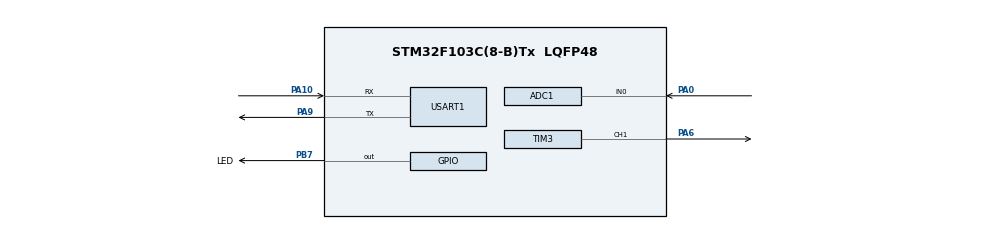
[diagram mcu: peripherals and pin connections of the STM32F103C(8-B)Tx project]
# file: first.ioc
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ADC1.Channel-0\#ChannelRegularConversion=ADC_CHANNEL_0
ADC1.ContinuousConvMode=DISABLE
ADC1.DataAlign=ADC_DATAALIGN_RIGHT
ADC1.DiscontinuousConvMode=DISABLE
ADC1.EnableAnalogWatchDog=false
ADC1.EnableRegularConversion=ENABLE
ADC1.ExternalTrigConv=ADC_SOFTWARE_START
ADC1.InjNumberOfConversion=0
ADC1.NbrOfConversion=1
ADC1.NbrOfConversionFlag=1
ADC1.Rank-0\#ChannelRegularConversion=1
ADC1.SamplingTime-0\#ChannelRegularConversion=ADC_SAMPLETIME_28CYCLES_5
ADC1.ScanConvMode=ADC_SCAN_DISABLE
ADC1.master=1
Dma.ADC1.0.Direction=DMA_PERIPH_TO_MEMORY
Dma.ADC1.0.Instance=DMA1_Channel1
Dma.ADC1.0.MemDataAlignment=DMA_MDATAALIGN_HALFWORD
Dma.ADC1.0.MemInc=DMA_MINC_DISABLE
Dma.ADC1.0.Mode=DMA_CIRCULAR
Dma.ADC1.0.PeriphDataAlignment=DMA_PDATAALIGN_HALFWORD
Dma.ADC1.0.PeriphInc=DMA_PINC_DISABLE
Dma.ADC1.0.Priority=DMA_PRIORITY_LOW
Dma.Request0=ADC1
FREERTOS.BinarySemaphores01=TXSem,Static,TXSemControlBlock;GetAvSem,Static,GetAvSemControlBlock
FREERTOS.INCLUDE_vTaskDelayUntil=1
FREERTOS.INCLUDE_vTaskDelete=0
FREERTOS.MEMORY_ALLOCATION=1
FREERTOS.Queues01=UartRXQueue,1,uint32_t,0,Static,UartRXQueueBuffer,UartRXQueueControlBlock;LEDQueue,1,uint16_t,0,Static,LEDQueueBuffer,LEDQueueControlBlock;ADCValQueue,1,uint32_t,0,Static,ADCValQueueBuffer,ADCValQueueControlBlock;ADCAverQueue,1,float,0,Static,ADCAverQueueBuffer,ADCAverQueueControlBlock
FREERTOS.Tasks01=ReceiveTask,0,256,StartReceiveTask,Default,NULL,Static,ReceiveTaskBuffer,ReceiveTaskControlBlock;LedTask,0,128,StartLedTask,Default,NULL,Static,LedTaskBuffer,LedTaskControlBlock;MovingAverageTa,0,128,StartMovingAverageTask,Default,NULL,Static,MovingAverageTaskBuffer,MovingAverageTaskControlBlock
Mcu.Family=STM32F1
Mcu.Name=STM32F103C(8-B)Tx
Mcu.Package=LQFP48
NVIC.DMA1_Channel1_IRQn=true\:10\:0\:true\:false\:true\:true\:false
NVIC.PriorityGroup=NVIC_PRIORITYGROUP_4
NVIC.TIM1_UP_IRQn=true\:5\:0\:false\:false\:true\:true\:true
NVIC.TIM2_IRQn=true\:0\:0\:false\:false\:true\:false\:false
NVIC.TimeBase=TIM2_IRQn
NVIC.TimeBaseIP=TIM2
NVIC.USART1_IRQn=true\:14\:0\:true\:false\:true\:true\:true
PA0-WKUP.Signal=ADCx_IN0
PA10.Mode=Asynchronous
PA10.Signal=USART1_RX
PA13.Mode=JTAG_5_pins
PA13.Signal=SYS_JTMS-SWDIO
PA14.Mode=JTAG_5_pins
PA14.Signal=SYS_JTCK-SWCLK
PA15.Mode=JTAG_5_pins
PA15.Signal=SYS_JTDI
PA6.Signal=S_TIM3_CH1
PA9.Mode=Asynchronous
PA9.Signal=USART1_TX
PB3.Mode=JTAG_5_pins
PB3.Signal=SYS_JTDO-TRACESWO
PB4.Mode=JTAG_5_pins
PB4.Signal=SYS_NJTRST
PB7.GPIO_Label=LED
PB7.GPIO_Speed=GPIO_SPEED_FREQ_MEDIUM
PB7.Signal=GPIO_Output
PD0-OSC_IN.Mode=HSE-External-Oscillator
PD0-OSC_IN.Signal=RCC_OSC_IN
PD1-OSC_OUT.Mode=HSE-External-Oscillator
PD1-OSC_OUT.Signal=RCC_OSC_OUT
ProjectManager.HeapSize=0x200
ProjectManager.StackSize=0x400
ProjectManager.TargetToolchain=EWARM
RCC.ADCPresc=RCC_ADCPCLK2_DIV6
RCC.AHBFreq_Value=72000000
RCC.APB1CLKDivider=RCC_HCLK_DIV2
RCC.APB1Freq_Value=36000000
RCC.APB1TimFreq_Value=72000000
RCC.APB2Freq_Value=72000000
RCC.APB2TimFreq_Value=72000000
RCC.HCLKFreq_Value=72000000
RCC.PLLMUL=RCC_PLL_MUL9
RCC.PLLSourceVirtual=RCC_PLLSOURCE_HSE
RCC.SYSCLKFreq_VALUE=72000000
RCC.SYSCLKSource=RCC_SYSCLKSOURCE_PLLCLK
RCC.USBFreq_Value=72000000
SH.ADCx_IN0.0=ADC1_IN0,IN0
SH.S_TIM3_CH1.0=TIM3_CH1,PWM Generation1 CH1
TIM1.AutoReloadPreload=TIM_AUTORELOAD_PRELOAD_ENABLE
TIM1.Period=10
TIM1.Prescaler=7200
TIM1.TIM_MasterOutputTrigger=TIM_TRGO_RESET
TIM3.AutoReloadPreload=TIM_AUTORELOAD_PRELOAD_ENABLE
TIM3.Channel-PWM\ Generation1\ CH1=TIM_CHANNEL_1
TIM3.OCFastMode_PWM-PWM\ Generation1\ CH1=TIM_OCFAST_DISABLE
TIM3.Period=0xfff
TIM3.Prescaler=0
TIM3.Pulse-PWM\ Generation1\ CH1=200
USART1.VirtualMode=VM_ASYNC
VP_FREERTOS_VS_ENABLE.Mode=Enabled
VP_SYS_VS_tim2.Mode=TIM2
VP_TIM1_VS_ClockSourceINT.Mode=Internal
VP_TIM3_VS_ClockSourceINT.Mode=Internal
board=custom

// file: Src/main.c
/**
  ******************************************************************************
  * @file           : main.c
  * @brief          : Main program body
  ******************************************************************************
  * This notice applies to any and all portions of this file
  * that are not between comment pairs USER CODE BEGIN and
  * USER CODE END. Other portions of this file, whether
  * inserted by the user or by software development tools
  * are owned by their respective copyright owners.
  *
  * Copyright (c) 2018 STMicroelectronics International N.V.
  * All rights reserved.
  *
  * Redistribution and use in source and binary forms, with or without
  * modification, are permitted, provided that the following conditions are met:
  *
  * 1. Redistribution of source code must retain the above copyright notice,
  *    this list of conditions and the following disclaimer.
  * 2. Redistributions in binary form must reproduce the above copyright notice,
  *    this list of conditions and the following disclaimer in the documentation
  *    and/or other materials provided with the distribution.
  * 3. Neither the name of STMicroelectronics nor the names of other
  *    contributors to this software may be used to endorse or promote products
  *    derived from this software without specific written permission.
  * 4. This software, including modifications and/or derivative works of this
  *    software, must execute solely and exclusively on microcontroller or
  *    microprocessor devices manufactured by or for STMicroelectronics.
  * 5. Redistribution and use of this software other than as permitted under
  *    this license is void and will automatically terminate your rights under
  *    this license.
  *
  * THIS SOFTWARE IS PROVIDED BY STMICROELECTRONICS AND CONTRIBUTORS "AS IS"
  * AND ANY EXPRESS, IMPLIED OR STATUTORY WARRANTIES, INCLUDING, BUT NOT
  * LIMITED TO, THE IMPLIED WARRANTIES OF MERCHANTABILITY, FITNESS FOR A
  * PARTICULAR PURPOSE AND NON-INFRINGEMENT OF THIRD PARTY INTELLECTUAL PROPERTY
  * RIGHTS ARE DISCLAIMED TO THE FULLEST EXTENT PERMITTED BY LAW. IN NO EVENT
  * SHALL STMICROELECTRONICS OR CONTRIBUTORS BE LIABLE FOR ANY DIRECT, INDIRECT,
  * INCIDENTAL, SPECIAL, EXEMPLARY, OR CONSEQUENTIAL DAMAGES (INCLUDING, BUT NOT
  * LIMITED TO, PROCUREMENT OF SUBSTITUTE GOODS OR SERVICES; LOSS OF USE, DATA,
  * OR PROFITS; OR BUSINESS INTERRUPTION) HOWEVER CAUSED AND ON ANY THEORY OF
  * LIABILITY, WHETHER IN CONTRACT, STRICT LIABILITY, OR TORT (INCLUDING
  * NEGLIGENCE OR OTHERWISE) ARISING IN ANY WAY OUT OF THE USE OF THIS SOFTWARE,
  * EVEN IF ADVISED OF THE POSSIBILITY OF SUCH DAMAGE.
  *
  ******************************************************************************
  */
#include "main.h"
#include "stm32f1xx_hal.h"
#include "cmsis_os.h"
#include "adc.h"
#include "dma.h"
#include "tim.h"
#include "usart.h"
#include "gpio.h"

/* USER CODE BEGIN PV */
/* Private variables ---------------------------------------------------------*/

#define ADC1_DR_Address     0x4001244C ///< адрес регистра значения АЦП
#define TIM3_CCR1_Address   0x40000434 ///< адрес регистра сравнения таймера3

/* USER CODE END PV */

void SystemClock_Config(void);
void MX_FREERTOS_Init(void);

/* USER CODE BEGIN PFP */
/* Private function prototypes -----------------------------------------------*/

/* USER CODE END PFP */

int main(void)
{

  /* MCU Configuration----------------------------------------------------------*/

  /* Reset of all peripherals, Initializes the Flash interface and the Systick. */
  HAL_Init();

  /* Configure the system clock */
  SystemClock_Config();

  /* Initialize all configured peripherals */
  MX_GPIO_Init();
  MX_DMA_Init();
  MX_ADC1_Init();
  MX_TIM1_Init();
  MX_USART1_UART_Init();
  MX_TIM3_Init();
  /* USER CODE BEGIN 2 */

  LL_DMA_ConfigAddresses(DMA1, LL_DMA_CHANNEL_1, ADC1_DR_Address, TIM3_CCR1_Address,
                                             LL_DMA_DIRECTION_PERIPH_TO_MEMORY);///< задаем адреса DMA
  LL_DMA_SetDataLength(DMA1, LL_DMA_CHANNEL_1, 1);///< задаем число данных при передачи DMA

  LL_ADC_Enable(ADC1); ///< активируем
  ADC_Calibrate(ADC1); ///< калибруем ADC

  LL_TIM_EnableCounter(TIM1);///< активируем таймер1
  LL_TIM_EnableIT_UPDATE(TIM1);///< включаем прерывание по переполнению таймера1
  TIM3_OutputEnable();///< активируем выход таймера1

  LL_TIM_EnableCounter(TIM3);///< активируем таймер3

  LL_DMA_EnableChannel(DMA1, LL_DMA_CHANNEL_1);///< актимируем первый канал DMA1

  /* USER CODE END 2 */

  /* Call init function for freertos objects (in freertos.c) */
  MX_FREERTOS_Init();

  /* Start scheduler */
  osKernelStart();

  /* We should never get here as control is now taken by the scheduler */

  /* Infinite loop */
  while (1)
  {

  }

}

void SystemClock_Config(void)
{

  LL_FLASH_SetLatency(LL_FLASH_LATENCY_2);

   if(LL_FLASH_GetLatency() != LL_FLASH_LATENCY_2)
  {
    Error_Handler();
  }
  LL_RCC_HSE_Enable();

   /* Wait till HSE is ready */
  while(LL_RCC_HSE_IsReady() != 1)
  {

  }
  LL_RCC_PLL_ConfigDomain_SYS(LL_RCC_PLLSOURCE_HSE_DIV_1, LL_RCC_PLL_MUL_9);

  LL_RCC_PLL_Enable();

   /* Wait till PLL is ready */
  while(LL_RCC_PLL_IsReady() != 1)
  {

  }
  LL_RCC_SetAHBPrescaler(LL_RCC_SYSCLK_DIV_1);

  LL_RCC_SetAPB1Prescaler(LL_RCC_APB1_DIV_2);

  LL_RCC_SetAPB2Prescaler(LL_RCC_APB2_DIV_1);

  LL_RCC_SetSysClkSource(LL_RCC_SYS_CLKSOURCE_PLL);

   /* Wait till System clock is ready */
  while(LL_RCC_GetSysClkSource() != LL_RCC_SYS_CLKSOURCE_STATUS_PLL)
  {

  }
  LL_Init1msTick(72000000);

  LL_SYSTICK_SetClkSource(LL_SYSTICK_CLKSOURCE_HCLK);

  LL_SetSystemCoreClock(72000000);

  LL_RCC_SetADCClockSource(LL_RCC_ADC_CLKSRC_PCLK2_DIV_6);

  /* SysTick_IRQn interrupt configuration */
  NVIC_SetPriority(SysTick_IRQn, NVIC_EncodePriority(NVIC_GetPriorityGrouping(),15, 0));
}

void HAL_TIM_PeriodElapsedCallback(TIM_HandleTypeDef *htim)
{
  if (htim->Instance == TIM2) {
    HAL_IncTick();
  }
}

void _Error_Handler(char *file, int line)
{
  while(1)
  {
  }
}

/************************ (C) COPYRIGHT STMicroelectronics *****END OF FILE****/

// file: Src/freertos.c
/**
  ******************************************************************************
  * File Name          : freertos.c
  * Description        : Code for freertos applications
  ******************************************************************************
  * This notice applies to any and all portions of this file
  * that are not between comment pairs USER CODE BEGIN and
  * USER CODE END. Other portions of this file, whether
  * inserted by the user or by software development tools
  * are owned by their respective copyright owners.
  *
  * Copyright (c) 2018 STMicroelectronics International N.V.
  * All rights reserved.
  *
  * Redistribution and use in source and binary forms, with or without
  * modification, are permitted, provided that the following conditions are met:
  *
  * 1. Redistribution of source code must retain the above copyright notice,
  *    this list of conditions and the following disclaimer.
  * 2. Redistributions in binary form must reproduce the above copyright notice,
  *    this list of conditions and the following disclaimer in the documentation
  *    and/or other materials provided with the distribution.
  * 3. Neither the name of STMicroelectronics nor the names of other
  *    contributors to this software may be used to endorse or promote products
  *    derived from this software without specific written permission.
  * 4. This software, including modifications and/or derivative works of this
  *    software, must execute solely and exclusively on microcontroller or
  *    microprocessor devices manufactured by or for STMicroelectronics.
  * 5. Redistribution and use of this software other than as permitted under
  *    this license is void and will automatically terminate your rights under
  *    this license.
  *
  * THIS SOFTWARE IS PROVIDED BY STMICROELECTRONICS AND CONTRIBUTORS "AS IS"
  * AND ANY EXPRESS, IMPLIED OR STATUTORY WARRANTIES, INCLUDING, BUT NOT
  * LIMITED TO, THE IMPLIED WARRANTIES OF MERCHANTABILITY, FITNESS FOR A
  * PARTICULAR PURPOSE AND NON-INFRINGEMENT OF THIRD PARTY INTELLECTUAL PROPERTY
  * RIGHTS ARE DISCLAIMED TO THE FULLEST EXTENT PERMITTED BY LAW. IN NO EVENT
  * SHALL STMICROELECTRONICS OR CONTRIBUTORS BE LIABLE FOR ANY DIRECT, INDIRECT,
  * INCIDENTAL, SPECIAL, EXEMPLARY, OR CONSEQUENTIAL DAMAGES (INCLUDING, BUT NOT
  * LIMITED TO, PROCUREMENT OF SUBSTITUTE GOODS OR SERVICES; LOSS OF USE, DATA,
  * OR PROFITS; OR BUSINESS INTERRUPTION) HOWEVER CAUSED AND ON ANY THEORY OF
  * LIABILITY, WHETHER IN CONTRACT, STRICT LIABILITY, OR TORT (INCLUDING
  * NEGLIGENCE OR OTHERWISE) ARISING IN ANY WAY OUT OF THE USE OF THIS SOFTWARE,
  * EVEN IF ADVISED OF THE POSSIBILITY OF SUCH DAMAGE.
  *
  ******************************************************************************
  */

#include "FreeRTOS.h"
#include "task.h"
#include "cmsis_os.h"

/* USER CODE BEGIN Includes */
#include "asu_pro_parser.h"
#include "string.h"
#include "ctype.h"
/* USER CODE END Includes */

osThreadId ReceiveTaskHandle;
uint32_t ReceiveTaskBuffer[ 256 ];
osStaticThreadDef_t ReceiveTaskControlBlock;
osThreadId LedTaskHandle;
uint32_t LedTaskBuffer[ 128 ];
osStaticThreadDef_t LedTaskControlBlock;
osThreadId MovingAverageTaHandle;
uint32_t MovingAverageTaskBuffer[ 128 ];
osStaticThreadDef_t MovingAverageTaskControlBlock;
osMessageQId UartRXQueueHandle;
uint8_t UartRXQueueBuffer[ 1 * sizeof( uint32_t ) ];
osStaticMessageQDef_t UartRXQueueControlBlock;
osMessageQId LEDQueueHandle;
uint8_t LEDQueueBuffer[ 1 * sizeof( uint16_t ) ];
osStaticMessageQDef_t LEDQueueControlBlock;
osMessageQId ADCValQueueHandle;
uint8_t ADCValQueueBuffer[ 1 * sizeof( uint32_t ) ];
osStaticMessageQDef_t ADCValQueueControlBlock;
osMessageQId ADCAverQueueHandle;
uint8_t ADCAverQueueBuffer[ 1 * sizeof( float ) ];
osStaticMessageQDef_t ADCAverQueueControlBlock;
osSemaphoreId TXSemHandle;
osStaticSemaphoreDef_t TXSemControlBlock;
osSemaphoreId GetAvSemHandle;
osStaticSemaphoreDef_t GetAvSemControlBlock;

/* USER CODE BEGIN Variables */

#define ADC_VAL_BUFFER_SIZE                   128 ///< размер буфера для значений ADC
#define ADC_VAL_BUFFER_SIZE_MASK             ((ADC_VAL_BUFFER_SIZE) - 1)

#define  LED_FlachRate       (100  / portTICK_RATE_MS)///<5Гц
#define  LED_SLOW            (1000 / portTICK_RATE_MS)///<0.5Гц
#define  LED_MEDIUM          (500 / portTICK_RATE_MS) ///<1Гц
#define  LED_FAST            (250  / portTICK_RATE_MS)///<2Гц

#define  NOT_READY           0xFFFFFFFF ///< идентификатор не готовности среднего значения ADC

uint16_t ADC_ValBuf[ADC_VAL_BUFFER_SIZE];///< буфер для хранения значений ADC

//// набор состояний светодиода
enum flash_state{
  fl_off = 0,
  fl_on,
  fl_slow,
  fl_med,
  fl_fast
};

void LED_Flash(enum flash_state fl_state, portTickType *LED_SleepTime);
char * itoa(int value, char* str, int base);
void strreverse(char* begin, char* end);

extern osMessageQId UartQueueHandle;
/* USER CODE END Variables */

void StartReceiveTask(void const * argument);
void StartLedTask(void const * argument);
void StartMovingAverageTask(void const * argument);

void MX_FREERTOS_Init(void); /* (MISRA C 2004 rule 8.1) */

/* GetIdleTaskMemory prototype (linked to static allocation support) */
void vApplicationGetIdleTaskMemory( StaticTask_t **ppxIdleTaskTCBBuffer, StackType_t **ppxIdleTaskStackBuffer, uint32_t *pulIdleTaskStackSize );

/* Hook prototypes */

/* USER CODE BEGIN GET_IDLE_TASK_MEMORY */
static StaticTask_t xIdleTaskTCBBuffer;
static StackType_t xIdleStack[configMINIMAL_STACK_SIZE];

void vApplicationGetIdleTaskMemory( StaticTask_t **ppxIdleTaskTCBBuffer, StackType_t **ppxIdleTaskStackBuffer, uint32_t *pulIdleTaskStackSize )
{
  *ppxIdleTaskTCBBuffer = &xIdleTaskTCBBuffer;
  *ppxIdleTaskStackBuffer = &xIdleStack[0];
  *pulIdleTaskStackSize = configMINIMAL_STACK_SIZE;
  /* place for user code */
}
/* USER CODE END GET_IDLE_TASK_MEMORY */

/* Init FreeRTOS */

void MX_FREERTOS_Init(void) {

  /* Create the semaphores(s) */
  /* definition and creation of TXSem */
  osSemaphoreStaticDef(TXSem, &TXSemControlBlock);
  TXSemHandle = osSemaphoreCreate(osSemaphore(TXSem), 1);

  /* definition and creation of GetAvSem */
  osSemaphoreStaticDef(GetAvSem, &GetAvSemControlBlock);
  GetAvSemHandle = osSemaphoreCreate(osSemaphore(GetAvSem), 1);

  /* Create the thread(s) */
  /* definition and creation of ReceiveTask */
  osThreadStaticDef(ReceiveTask, StartReceiveTask, osPriorityNormal, 0, 256, ReceiveTaskBuffer, &ReceiveTaskControlBlock);
  ReceiveTaskHandle = osThreadCreate(osThread(ReceiveTask), NULL);

  /* definition and creation of LedTask */
  osThreadStaticDef(LedTask, StartLedTask, osPriorityNormal, 0, 128, LedTaskBuffer, &LedTaskControlBlock);
  LedTaskHandle = osThreadCreate(osThread(LedTask), NULL);

  /* definition and creation of MovingAverageTa */
  osThreadStaticDef(MovingAverageTa, StartMovingAverageTask, osPriorityNormal, 0, 128, MovingAverageTaskBuffer, &MovingAverageTaskControlBlock);
  MovingAverageTaHandle = osThreadCreate(osThread(MovingAverageTa), NULL);

  /* Create the queue(s) */
  /* definition and creation of UartRXQueue */
  osMessageQStaticDef(UartRXQueue, 1, uint32_t, UartRXQueueBuffer, &UartRXQueueControlBlock);
  UartRXQueueHandle = osMessageCreate(osMessageQ(UartRXQueue), NULL);

  /* definition and creation of LEDQueue */
  osMessageQStaticDef(LEDQueue, 1, uint16_t, LEDQueueBuffer, &LEDQueueControlBlock);
  LEDQueueHandle = osMessageCreate(osMessageQ(LEDQueue), NULL);

  /* definition and creation of ADCValQueue */
  osMessageQStaticDef(ADCValQueue, 1, uint32_t, ADCValQueueBuffer, &ADCValQueueControlBlock);
  ADCValQueueHandle = osMessageCreate(osMessageQ(ADCValQueue), NULL);

  /* definition and creation of ADCAverQueue */
  osMessageQStaticDef(ADCAverQueue, 1, float, ADCAverQueueBuffer, &ADCAverQueueControlBlock);
  ADCAverQueueHandle = osMessageCreate(osMessageQ(ADCAverQueue), NULL);

  /* USER CODE BEGIN RTOS_QUEUES */
  /* add queues, ... */
  LL_DMA_EnableIT_TC(DMA1, LL_DMA_CHANNEL_1);
  /* USER CODE END RTOS_QUEUES */
}

/* StartReceiveTask function */
void StartReceiveTask(void const * argument)
{

  /* USER CODE BEGIN StartReceiveTask */
 portBASE_TYPE taskWoken;
 UART_Queue_typedef qdata;
 enum flash_state LED_State = fl_off;
 float ADC_Val;
 char temp_str1[10];
 char temp_str2[10];

  LL_USART_EnableIT_TC(USART1);///< активируем прерывания по приходу байта и по окончании передачи байта
  LL_USART_EnableIT_RXNE(USART1);///< здесь берем семафор один раз так как сработало прерывание TC
  xSemaphoreTake(TXSemHandle, 20 / portTICK_RATE_MS);
  //------------------------------
  /* Infinite loop */
  for(;;)
  {
    if(xQueueReceiveFromISR( UartRXQueueHandle, &qdata, &taskWoken ) == pdTRUE)///< ждем сообщение по UART

      switch (Parse_AsuProMess(qdata))///< парсим
      {
       case ERROR: ///< если пришло не понятно что
          LED_State = fl_med;///< частота светодиода 1HZ
          if(Send_AsuProMess("BUSY\r\n", 6) == ERROR)///< отправляем отклик
            LED_State = fl_fast;
          xQueueSendToBack( LEDQueueHandle, &LED_State, 0 ); ///<обновляем частоту моргания светодиода в потоке LedTask
        break;

        case _LED_OFF:
          LED_State = fl_off;///< состояние светодиода - отключен
          if(Send_AsuProMess("OK\r\n", 4) == ERROR)
             LED_State = fl_fast;
          xQueueSendToBack( LEDQueueHandle, &LED_State, 0 );
        break;

        case _LED_ON:
          LED_State = fl_on;
          if(Send_AsuProMess("OK\r\n", 4) == ERROR)
             LED_State = fl_fast;
          xQueueSendToBack( LEDQueueHandle, &LED_State, 0 );
        break;

        case _GET_ADC_AVG_VOLTAGE:
          if(xSemaphoreGive(GetAvSemHandle)== pdTRUE)///< посылаем запрос о необходимости среднего значения напряжения потоку MovingAverageTask
          {
           if(xQueueReceive( ADCAverQueueHandle, &ADC_Val, 50 / portTICK_RATE_MS )== pdTRUE)///< получаем среднее значение напряжения
           {
            if(ADC_Val == NOT_READY)///< если среднее значение не готово то сигнализируем
            {
             if(Send_AsuProMess("NOT READY\r\n", 11) == ERROR)
               LED_State = fl_fast;
            }
            else
            {
              itoa(ADC_Val, temp_str1, 10); ///< переводим в ASCII целую часть
              strcat(temp_str1, "."); ///< добавляем точку
              uint16_t i = (ADC_Val - (int)ADC_Val) * 1000;///< берем дробную часть
              itoa(i, temp_str2, 10);
              strcat(temp_str1, temp_str2);
              if(Send_AsuProMess(temp_str1, strlen(temp_str1))!= ERROR)///< ответ
              {
                Send_AsuProMess("\r\n",2);
                Send_AsuProMess("OK\r\n", 4);
              }
              else
               LED_State = fl_fast;
            }
           }
           xQueueSendToBack( LEDQueueHandle, &LED_State, 0 );
          }
        break;

        case _SET_ADC_SAMPLE_RATE:
          LL_TIM_SetAutoReload(TIM1, 1000);///< устанавливаем дискретезацию АЦП 10Гц
          if(Send_AsuProMess("Sample rate = 10HZ\r\n",20)!= ERROR)
               Send_AsuProMess("OK\r\n", 4);
          else
            LED_State = fl_fast;
             xQueueSendToBack( LEDQueueHandle, &LED_State, 0 );
        break;
      }
  }
  /* USER CODE END StartReceiveTask */
}

/* StartLedTask function */
void StartLedTask(void const * argument)
{
  /* USER CODE BEGIN StartLedTask */
portTickType LED_SleepTime = LED_FlachRate;
enum flash_state LED_State = fl_off;
uint32_t NowTicks;///< текущее значение тиков
  /* Infinite loop */
  for(;;)
  {
     xQueueReceive( LEDQueueHandle, &LED_State, 0 );///< проверяем очередь
     NowTicks = xTaskGetTickCount();
     LED_Flash(LED_State, &LED_SleepTime);
     vTaskDelayUntil(&NowTicks, LED_SleepTime);
  }
  /* USER CODE END StartLedTask */
}

/* StartMovingAverageTask function */
void StartMovingAverageTask(void const * argument)
{
  /* USER CODE BEGIN StartMovingAverageTask */
 /**
*     MovingAverageTask

*  @details Используется алгоритм простого скользящнго среднего:

*           Есть кольцевой буфер ADC_ValBuf из ADC_VAL_BUFFER_SIZE значений.
*           Есть сумма значений АЦП ADC_ValSum.

*           При появлении нового значения ADC_Val из суммы удаляется
*           значение самого старого. К сумме прибавляется новое
*           и делится на ADC_VAL_BUFFER_SIZE
  */
 portBASE_TYPE taskWoken;
 uint32_t ADC_ValSum = 0;///< сумма значений АЦП
 uint16_t ADC_OldVal_pos = 0;///< индекс
 uint32_t ADC_Val;///< значение АЦП
 uint8_t isFull = 0;///< флаг заполненности буфера
 float ADC_AverVal;
  /* Infinite loop */
  for(;;)
  {

   if(xQueueReceiveFromISR( ADCValQueueHandle, &ADC_Val, &taskWoken ) == pdTRUE) ///< новое значение АЦП
   {
     if(isFull)///< проверяем флаг заполненности буфера
     {
       ADC_ValSum = ADC_ValSum - ADC_ValBuf[ADC_OldVal_pos];///< вычитаем из суммы самое старое значение АЦП
       ADC_ValSum = ADC_ValSum + ADC_Val;///< прибавляем к сумме новое значение
       ADC_ValBuf[ADC_OldVal_pos] = (uint16_t)ADC_Val;///< добавляем в буфер новое значение вместо самого старого
       ADC_OldVal_pos++;///< сдвигаем "курсор" на позицию самого старого значения АЦП
       ADC_OldVal_pos &= ADC_VAL_BUFFER_SIZE_MASK;///< вместо проверки на переполнение
     }
     else
     {
       ADC_ValSum = ADC_ValSum + ADC_Val;
       ADC_ValBuf[ADC_OldVal_pos] = (uint16_t)ADC_Val;
       ADC_OldVal_pos++;
       ADC_OldVal_pos &= ADC_VAL_BUFFER_SIZE_MASK;
       if(ADC_OldVal_pos == 0)
                        isFull = 1;
     }
    if(!isFull)
      ADC_AverVal = NOT_READY;
    else
      /** Разрядность АЦП 12 бит = 4096 уровней квантования
        * Разрешение АЦП 3,3/4096 = 0,0008057 = 800 мкВ
        * @example Читаем число 2050 значит U = 2050*0,0008 = 1,64В*/
      ADC_AverVal = (ADC_ValSum/ADC_VAL_BUFFER_SIZE) * 0.0008;
    if(xSemaphoreTake(GetAvSemHandle, 20 / portTICK_RATE_MS)== pdTRUE)
     xQueueSendToBack( ADCAverQueueHandle, &ADC_AverVal, 10 / portTICK_RATE_MS );///< если есть запрос то отправляем среднее значение
   }

  }
  /* USER CODE END StartMovingAverageTask */
}

/* USER CODE BEGIN Application */

void LED_Flash(enum flash_state fl_state, portTickType *LED_SleepTime)
{
  switch(fl_state)
  {
    case fl_off:
      HAL_GPIO_WritePin(LED_GPIO_Port, LED_Pin, GPIO_PIN_RESET);
      *LED_SleepTime = LED_FlachRate;
    break;

    case fl_on:
      HAL_GPIO_WritePin(LED_GPIO_Port, LED_Pin, GPIO_PIN_SET);
      *LED_SleepTime = LED_FlachRate;
    break;

    case fl_slow:
       HAL_GPIO_TogglePin(LED_GPIO_Port, LED_Pin);
       *LED_SleepTime = LED_SLOW;
    break;

    case fl_med:
       HAL_GPIO_TogglePin(LED_GPIO_Port, LED_Pin);
       *LED_SleepTime = LED_MEDIUM;
    break;

    case fl_fast:
       HAL_GPIO_TogglePin(LED_GPIO_Port, LED_Pin);
       *LED_SleepTime = LED_FAST;
    break;

    default:break;
  }
}

/*-------------------------------------------------------------------------------------------
  itoa * Ansi C "itoa" based on Kernighan & Ritchie's "Ansi C"
  with slight modification to optimize for specific architecture:
---------------------------------------------------------------------------------------------*/
char * itoa(int value, char* str, int base) {
	static char num[] = "0123456789ABCDEF";
	char* wstr=str;
	int sign;
	div_t res;
	// Validate base
	if (base<2 || base>16){ *wstr='\0'; return 0; }
	// Take care of sign
	if ((sign=value) < 0) value = -value;
	// Conversion. Number is reversed.
	do {
		res = div(value,base);
		*wstr++ = num[res.rem];
	}while(value=res.quot);
	if(sign<0) *wstr++='-';
	*wstr='\0';
	// Reverse string
	strreverse(str,wstr-1);
		return (str);
}

void strreverse(char* begin, char* end)
{
	char aux;
	while(end>begin)
		aux=*end, *end--=*begin, *begin++=aux;
}
/* USER CODE END Application */

/************************ (C) COPYRIGHT STMicroelectronics *****END OF FILE****/
